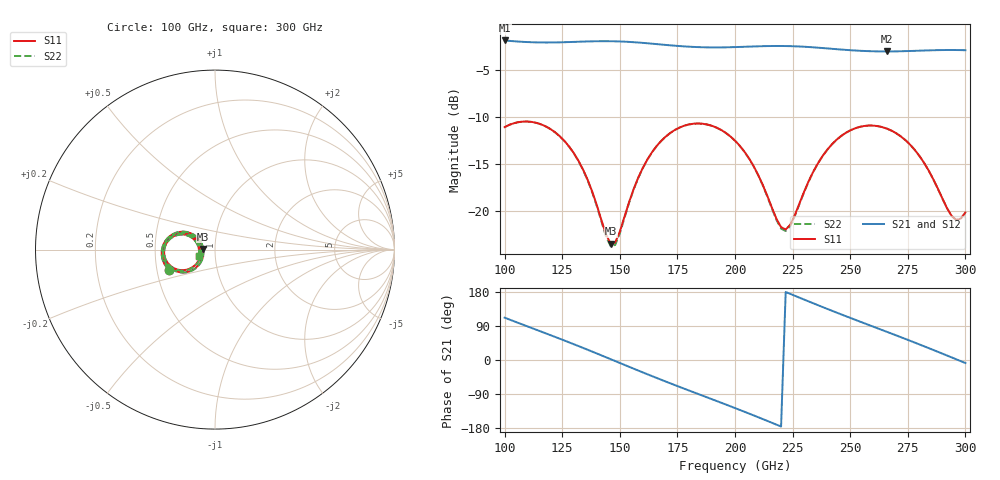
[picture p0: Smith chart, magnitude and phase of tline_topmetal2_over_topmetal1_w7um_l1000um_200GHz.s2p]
#  GHZ S DB R 50
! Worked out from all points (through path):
!   101 points, 100 GHz to 300 GHz, reference 50 ohm
!   highest |S21| = -1.87 dB at 100 GHz (marker M1); lowest = -3.0 dB at 266 GHz (marker M2)
!   group delay of S21, straight-line fit = 6.67 ps
!   lowest |S11| = -23.5 dB at 146 GHz (marker M3), VSWR 1.14, Z = 43.7 + j0.249 ohm
!   |S11| at or under -10 dB: start of sweep to end of sweep
!   |S22| runs from -23.8 to -10.5 dB; largest |S21 - S12| = 1.4e-13
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100  -11.10 -155.9  -1.87 111.7  -1.87 111.7  -11.10 -156.0
108  -10.51 -171.2  -2.02 93.1  -2.02 93.1  -10.51 -171.4
116  -10.82 173.7  -2.08 74.6  -2.08 74.6  -10.83 173.5
126  -12.58 156.4  -2.06 51.3  -2.06 51.3  -12.60 156.1
134  -15.59 146.4  -1.99 32.0  -1.99 32.0  -15.63 145.9
146  -23.50 177.6  -1.95 2.2  -1.95 2.2  -23.78 177.5
148  -23.38 -165.3  -1.96 -2.8  -1.96 -2.8  -23.64 -164.7
156  -17.70 -136.5  -2.05 -22.8  -2.05 -22.8  -17.76 -135.6
168  -12.56 -147.9  -2.30 -52.2  -2.30 -52.2  -12.57 -147.4
184  -10.71 -175.2  -2.58 -89.7  -2.58 -89.7  -10.72 -174.9
200  -12.54 158.6  -2.58 -126.8  -2.58 -126.8  -12.55 158.8
212  -17.22 149.4  -2.48 -155.7  -2.48 -155.7  -17.27 149.4
218  -20.87 162.6  -2.46 -170.6  -2.46 -170.6  -20.99 162.7
222  -22.00 -173.9  -2.47 179.4  -2.47 179.4  -22.16 -173.4
234  -15.83 -142.1  -2.60 149.6  -2.60 149.6  -15.86 -141.2
250  -11.45 -161.4  -2.91 111.2  -2.91 111.2  -11.45 -160.7
266  -11.27 172.7  -3.04 74.2  -3.04 74.2  -11.26 173.4
268  -11.48 169.6  -3.04 69.5  -3.04 69.5  -11.48 170.3
278  -13.52 156.2  -2.98 46.0  -2.98 46.0  -13.52 156.8
286  -16.62 152.4  -2.91 26.7  -2.91 26.7  -16.62 153.0
294  -20.55 170.5  -2.89 6.9  -2.89 6.9  -20.56 171.1
300  -20.19 -159.6  -2.91 -8.0  -2.91 -8.0  -20.21 -158.9
